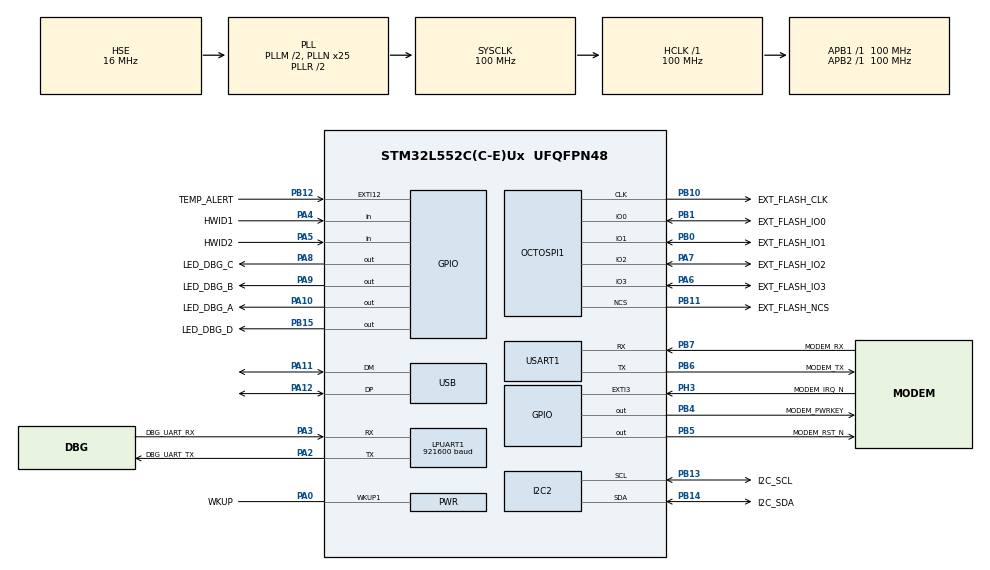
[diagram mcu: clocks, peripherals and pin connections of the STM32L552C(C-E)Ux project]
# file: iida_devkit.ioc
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I2C2.Timing=0x10C0ECFF
IWDG.Prescaler=IWDG_PRESCALER_32
IWDG.Reload=1000
IWDG.Window=1000
LPUART1.BaudRate=921600
Mcu.Family=STM32L5
Mcu.Name=STM32L552C(C-E)Ux
Mcu.Package=UFQFPN48
NVIC.EXTI12_IRQn=true\:0\:0\:false\:false\:true\:true\:true\:true
NVIC.EXTI3_IRQn=true\:0\:0\:false\:false\:true\:true\:true\:true
NVIC.HASH_IRQn=true\:0\:0\:false\:false\:true\:true\:true\:true
NVIC.I2C2_ER_IRQn=true\:0\:0\:false\:false\:true\:true\:true\:true
NVIC.I2C2_EV_IRQn=true\:0\:0\:false\:false\:true\:true\:true\:true
NVIC.LPUART1_IRQn=true\:0\:0\:false\:false\:true\:true\:true\:true
NVIC.OCTOSPI1_IRQn=true\:0\:0\:false\:false\:true\:true\:true\:true
NVIC.PVD_PVM_IRQn=true\:0\:0\:false\:false\:true\:true\:true\:true
NVIC.PriorityGroup=NVIC_PRIORITYGROUP_3
NVIC.RNG_IRQn=true\:0\:0\:false\:false\:true\:true\:true\:true
NVIC.USART1_IRQn=true\:0\:0\:false\:false\:true\:true\:true\:true
NVIC.USB_FS_IRQn=true\:0\:0\:false\:false\:true\:true\:true\:true
PA0.GPIO_Label=WKUP
PA0.Mode=WakeUp0
PA0.Signal=PWR_WKUP1
PA10.GPIO_Label=LED_DBG_A
PA10.GPIO_PuPd=GPIO_PULLUP
PA10.Signal=GPIO_Output
PA11.GPIO_Speed=GPIO_SPEED_FREQ_VERY_HIGH
PA11.Mode=Device
PA11.Signal=USB_DM
PA12.GPIO_Speed=GPIO_SPEED_FREQ_VERY_HIGH
PA12.Mode=Device
PA12.Signal=USB_DP
PA13\ (JTMS/SWDIO).GPIO_Label=SWDIO
PA13\ (JTMS/SWDIO).Mode=Trace_Asynchronous_SW
PA13\ (JTMS/SWDIO).Signal=DEBUG_JTMS-SWDIO
PA14\ (JTCK/SWCLK).GPIO_Label=SWCLK
PA14\ (JTCK/SWCLK).Mode=Trace_Asynchronous_SW
PA14\ (JTCK/SWCLK).Signal=DEBUG_JTCK-SWCLK
PA2.GPIO_Label=DBG_UART_TX
PA2.GPIO_Speed=GPIO_SPEED_FREQ_HIGH
PA2.Mode=Asynchronous
PA2.Signal=LPUART1_TX
PA3.GPIO_Label=DBG_UART_RX
PA3.GPIO_Speed=GPIO_SPEED_FREQ_HIGH
PA3.Mode=Asynchronous
PA3.Signal=LPUART1_RX
PA4.GPIO_Label=HWID1
PA4.Signal=GPIO_Input
PA5.GPIO_Label=HWID2
PA5.Signal=GPIO_Input
PA6.GPIO_Label=EXT_FLASH_IO3
PA6.Mode=quad_mode
PA6.Signal=OCTOSPI1_IO3
PA7.GPIO_Label=EXT_FLASH_IO2
PA7.Mode=quad_mode
PA7.Signal=OCTOSPI1_IO2
PA8.GPIO_Label=LED_DBG_C
PA8.GPIO_PuPd=GPIO_PULLUP
PA8.Signal=GPIO_Output
PA9.GPIO_Label=LED_DBG_B
PA9.GPIO_PuPd=GPIO_PULLUP
PA9.Signal=GPIO_Output
PB0.GPIO_Label=EXT_FLASH_IO1
PB0.Mode=quad_mode
PB0.Signal=OCTOSPI1_IO1
PB1.GPIO_Label=EXT_FLASH_IO0
PB1.Mode=quad_mode
PB1.Signal=OCTOSPI1_IO0
PB10.GPIO_Label=EXT_FLASH_CLK
PB10.Mode=quad_mode
PB10.Signal=OCTOSPI1_CLK
PB11.GPIO_Label=EXT_FLASH_NCS
PB11.Mode=quad_mode
PB11.Signal=OCTOSPI1_NCS
PB12.GPIO_Label=TEMP_ALERT
PB12.GPIO_ModeDefaultEXTI=GPIO_MODE_IT_FALLING
PB12.GPIO_PuPd=GPIO_PULLUP
PB12.Signal=GPXTI12
PB13.GPIO_Label=I2C_SCL
PB13.GPIO_Speed=GPIO_SPEED_FREQ_HIGH
PB13.Mode=I2C
PB13.Signal=I2C2_SCL
PB14.GPIO_Label=I2C_SDA
PB14.GPIO_Speed=GPIO_SPEED_FREQ_HIGH
PB14.Mode=I2C
PB14.Signal=I2C2_SDA
PB15.GPIO_Label=LED_DBG_D
PB15.GPIO_PuPd=GPIO_PULLUP
PB15.Signal=GPIO_Output
PB3\ (JTDO/TRACESWO).GPIO_Label=SWO
PB3\ (JTDO/TRACESWO).Mode=Trace_Asynchronous_SW
PB3\ (JTDO/TRACESWO).Signal=DEBUG_JTDO-SWO
PB4\ (NJTRST).GPIO_Label=MODEM_PWRKEY
PB4\ (NJTRST).GPIO_PuPd=GPIO_PULLDOWN
PB4\ (NJTRST).Signal=GPIO_Output
PB5.GPIO_Label=MODEM_RST_N
PB5.GPIO_PuPd=GPIO_PULLUP
PB5.Signal=GPIO_Output
PB6.GPIO_Label=MODEM_TX
PB6.GPIO_Speed=GPIO_SPEED_FREQ_HIGH
PB6.Mode=Asynchronous
PB6.Signal=USART1_TX
PB7.GPIO_Label=MODEM_RX
PB7.GPIO_Speed=GPIO_SPEED_FREQ_HIGH
PB7.Mode=Asynchronous
PB7.Signal=USART1_RX
PC14-OSC32_IN\ (PC14).GPIO_Label=LSE_IN
PC14-OSC32_IN\ (PC14).Mode=LSE-External-Oscillator
PC14-OSC32_IN\ (PC14).Signal=RCC_OSC32_IN
PC15-OSC32_OUT\ (PC15).GPIO_Label=LSE_OUT
PC15-OSC32_OUT\ (PC15).Mode=LSE-External-Oscillator
PC15-OSC32_OUT\ (PC15).Signal=RCC_OSC32_OUT
PH0-OSC_IN\ (PH0).GPIO_Label=HSE_IN
PH0-OSC_IN\ (PH0).Mode=HSE-External-Oscillator
PH0-OSC_IN\ (PH0).Signal=RCC_OSC_IN
PH1-OSC_OUT\ (PH1).GPIO_Label=HSE_OUT
PH1-OSC_OUT\ (PH1).Mode=HSE-External-Oscillator
PH1-OSC_OUT\ (PH1).Signal=RCC_OSC_OUT
PH3-BOOT0.GPIO_Label=MODEM_IRQ_N
PH3-BOOT0.GPIO_ModeDefaultEXTI=GPIO_MODE_IT_FALLING
PH3-BOOT0.GPIO_PuPd=GPIO_PULLUP
PH3-BOOT0.Signal=GPXTI3
ProjectManager.HeapSize=0x200
ProjectManager.StackSize=0x400
ProjectManager.TargetToolchain=Makefile
RCC.ADCFreq_Value=48000000
RCC.AHBFreq_Value=100000000
RCC.APB1Freq_Value=100000000
RCC.APB1TimFreq_Value=100000000
RCC.APB2Freq_Value=100000000
RCC.APB2TimFreq_Value=100000000
RCC.CortexFreq_Value=100000000
RCC.FLatency=FLASH_LATENCY_4
RCC.HCLKFreq_Value=100000000
RCC.HSE_VALUE=16000000
RCC.HSI48_VALUE=48000000
RCC.HSI_VALUE=16000000
RCC.LSE_Drive_Capability=RCC_LSEDRIVE_HIGH
RCC.MSIClockRange=RCC_MSIRANGE_8
RCC.MSI_VALUE=16000000
RCC.OCTOSPIMCLockSelection=RCC_OSPICLKSOURCE_PLL
RCC.PLLM=2
RCC.PLLN=25
RCC.PLLSAI1M=4
RCC.PLLSAI1N=24
RCC.PLLSAI1Source=RCC_PLLSAI1SOURCE_HSE
RCC.PLLSAI2Source=RCC_PLLSAI2SOURCE_HSE
RCC.PLLSourceVirtual=RCC_PLLSOURCE_HSE
RCC.RTCClockSelection=RCC_RTCCLKSOURCE_LSE
RCC.SYSCLKFreq_VALUE=100000000
RCC.SYSCLKSource=RCC_SYSCLKSOURCE_PLLCLK
RCC.USBFreq_Value=48000000
RCC.VCOOutputFreq_Value=200000000
USART1.VirtualMode-Asynchronous=VM_ASYNC
USB.battery_charging_enable=ENABLE
VP_CRC_VS_CRC.Mode=CRC_Activate
VP_HASH_VS_HASH.Mode=HASH_Activate
VP_ICACHE_VS_ICACHE.Mode=DirectMappedCache
VP_IWDG_VS_IWDG.Mode=IWDG_Activate
VP_PWR_VS_DBSignals.Mode=DisableDeadBatterySignals
VP_PWR_VS_SECSignals.Mode=Security/Privilege
VP_RNG_VS_RNG.Mode=RNG_Activate
VP_RTC_VS_RTC_Activate.Mode=RTC_Enabled
board=custom

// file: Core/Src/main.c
/* USER CODE BEGIN Header */
/**
  ******************************************************************************
  * @file           : main.c
  * @brief          : Main program body
  ******************************************************************************
  * @attention
  *
  * Copyright (c) 2024 STMicroelectronics.
  * All rights reserved.
  *
  * This software is licensed under terms that can be found in the LICENSE file
  * in the root directory of this software component.
  * If no LICENSE file comes with this software, it is provided AS-IS.
  *
  ******************************************************************************
  */
/* USER CODE END Header */
#include "main.h"
#include "crc.h"
#include "hash.h"
#include "i2c.h"
#include "icache.h"
#include "iwdg.h"
#include "usart.h"
#include "octospi.h"
#include "rng.h"
#include "rtc.h"
#include "usb.h"
#include "gpio.h"

/* USER CODE BEGIN Includes */
#include <stdint.h>
#include <stdbool.h>
#include <string.h>
#include <stdio.h>
/* USER CODE END Includes */

/* USER CODE BEGIN PM */
#define STRINGIFY(x) #x
/* USER CODE END PM */

/* USER CODE BEGIN PV */
static enum {
  TEST_INIT = 0,
  TEST_LED_A,
  TEST_LED_B,
  TEST_LED_C,
  TEST_LED_D,
  TEST_DBG_UART,
  TEST_MODEM_UART,
  TEST_QSPI,
  TEST_RTC,
  TEST_I2C,
  TEST_COUNT
} _test;
static const char* _test_names[TEST_COUNT] = {
  STRINGIFY(TEST_INIT),
  STRINGIFY(TEST_LED_A),
  STRINGIFY(TEST_LED_B),
  STRINGIFY(TEST_LED_C),
  STRINGIFY(TEST_LED_D),
  STRINGIFY(TEST_DBG_UART),
  STRINGIFY(TEST_MODEM_UART),
  STRINGIFY(TEST_QSPI),
  STRINGIFY(TEST_RTC),
  STRINGIFY(TEST_I2C)
};
#define MIN_I2C_SLAVE_ADDRESS (0x0U)
#define MAX_I2C_SLAVE_ADDRESS (0x7FU)
static bool _connected_i2c_slaves[MAX_I2C_SLAVE_ADDRESS + 1];
/* USER CODE END PV */

void SystemClock_Config(void);
void PeriphCommonClock_Config(void);

/* USER CODE BEGIN 0 */
int __io_putchar(int ch) {
  return HAL_UART_Transmit(&hlpuart1, (uint8_t*)&ch, 1, 1000UL);
}

int __io_getchar(void) {
  uint8_t ch = 0xFFU;
  if (HAL_UART_Receive(&hlpuart1, &ch, 1, 1000UL) != HAL_OK) {
    return -1;
  }
  return ch;
}
/* USER CODE END 0 */

int main(void)
{

  /* USER CODE BEGIN 1 */
  _test = TEST_INIT;
  bool test_results[TEST_COUNT];
  /* USER CODE END 1 */

  /* MCU Configuration--------------------------------------------------------*/

  /* Reset of all peripherals, Initializes the Flash interface and the Systick. */
  HAL_Init();

  /* Configure the system clock */
  SystemClock_Config();

/* Configure the peripherals common clocks */
  PeriphCommonClock_Config();

  /* Initialize all configured peripherals */
  MX_GPIO_Init();
  MX_CRC_Init();
  MX_HASH_Init();
  MX_I2C2_Init();
  MX_ICACHE_Init();
  MX_IWDG_Init();
  MX_LPUART1_UART_Init();
  MX_USART1_UART_Init();
  MX_OCTOSPI1_Init();
  MX_RNG_Init();
  MX_RTC_Init();
  MX_USB_PCD_Init();

  /* Infinite loop */
  /* USER CODE BEGIN WHILE */
  while (1)
  {
    printf("TEST: Start %s\n", _test_names[_test]);

    switch (_test) {
      case TEST_INIT:
        for (unsigned i = 0; i < TEST_COUNT; i++) {
          test_results[i] = false;
        }
        for (unsigned i = MIN_I2C_SLAVE_ADDRESS; i < (MAX_I2C_SLAVE_ADDRESS + 1); i++) {
          _connected_i2c_slaves[i] = false;
        }
        HAL_GPIO_WritePin(LED_DBG_A, GPIO_PIN_SET);
        HAL_GPIO_WritePin(LED_DBG_B, GPIO_PIN_SET);
        HAL_GPIO_WritePin(LED_DBG_C, GPIO_PIN_SET);
        HAL_GPIO_WritePin(LED_DBG_D, GPIO_PIN_SET);
        test_results[_test] = true;
        break;
      case TEST_LED_A:
        HAL_GPIO_WritePin(LED_DBG_A, GPIO_PIN_RESET);
        if (HAL_GPIO_ReadPin(LED_DBG_A) != GPIO_PIN_RESET) {
          break;
        }
        HAL_Delay(250UL);
        HAL_GPIO_WritePin(LED_DBG_A, GPIO_PIN_SET);
        if (HAL_GPIO_ReadPin(LED_DBG_A) != GPIO_PIN_SET) {
          break;
        }
        test_results[_test] = true;
        break;
      case TEST_LED_B:
        HAL_GPIO_WritePin(LED_DBG_B, GPIO_PIN_RESET);
        if (HAL_GPIO_ReadPin(LED_DBG_B) != GPIO_PIN_RESET) {
          break;
        }
        HAL_Delay(250UL);
        HAL_GPIO_WritePin(LED_DBG_B, GPIO_PIN_SET);
        if (HAL_GPIO_ReadPin(LED_DBG_B) != GPIO_PIN_SET) {
          break;
        }
        test_results[_test] = true;
        break;
      case TEST_LED_C:
        HAL_GPIO_WritePin(LED_DBG_C, GPIO_PIN_RESET);
        if (HAL_GPIO_ReadPin(LED_DBG_C) != GPIO_PIN_RESET) {
          break;
        }
        HAL_Delay(250UL);
        HAL_GPIO_WritePin(LED_DBG_C, GPIO_PIN_SET);
        if (HAL_GPIO_ReadPin(LED_DBG_C) != GPIO_PIN_SET) {
          break;
        }
        test_results[_test] = true;
        break;
      case TEST_LED_D:
        HAL_GPIO_WritePin(LED_DBG_D, GPIO_PIN_RESET);
        if (HAL_GPIO_ReadPin(LED_DBG_D) != GPIO_PIN_RESET) {
          break;
        }
        HAL_Delay(250UL);
        HAL_GPIO_WritePin(LED_DBG_D, GPIO_PIN_SET);
        if (HAL_GPIO_ReadPin(LED_DBG_D) != GPIO_PIN_SET) {
          break;
        }
        test_results[_test] = true;
        break;
      case TEST_DBG_UART:
        if (HAL_UART_Transmit(&hlpuart1, (uint8_t*)"TEST\n", strlen("TEST\n"), 500UL) != HAL_OK) {
          break;
        }
        test_results[_test] = true;
        break;
      case TEST_MODEM_UART:
        if (HAL_UART_Transmit(&huart1, (uint8_t*)"TEST\n", strlen("TEST\n"), 500UL) != HAL_OK) {
          break;
        }
        test_results[_test] = true;
        break;
      case TEST_RTC:
        // TODO
        RTC_TimeTypeDef rtc_time_start = {0};
        RTC_TimeTypeDef rtc_time_stop = {0};
        if (HAL_RTC_GetTime(&hrtc, &rtc_time_start, RTC_FORMAT_BCD) != HAL_OK) {
          break;
        }
        HAL_Delay(500UL);
        HAL_IWDG_Refresh(&hiwdg);
        HAL_Delay(500UL);
        if (HAL_RTC_GetTime(&hrtc, &rtc_time_stop, RTC_FORMAT_BCD) != HAL_OK) {
          break;
        }
        if (rtc_time_start.Seconds < rtc_time_stop.Seconds) {
          test_results[_test] = true;
        }
        break;
      case TEST_I2C:
        for (uint16_t i = MIN_I2C_SLAVE_ADDRESS; i < (MAX_I2C_SLAVE_ADDRESS + 1); i++) {
          if (HAL_I2C_IsDeviceReady(&hi2c2, i, 3, 500UL) == HAL_OK) {
            HAL_IWDG_Refresh(&hiwdg);
            printf("TEST: I2C slave @ 0x%02X\n", i);
            _connected_i2c_slaves[i] = true;
            test_results[_test] = true;
          }
        }
        break;
      default:
        printf("ERROR: Unknown test: %d\n", _test);
        break;
    }

    if (test_results[_test]) {
      printf("TEST: %s PASS\n", _test_names[_test]);
    } else {
      printf("TEST: %s FAIL\n", _test_names[_test]);
    }
    /* USER CODE END WHILE */

    /* USER CODE BEGIN 3 */
    _test++;

    HAL_IWDG_Refresh(&hiwdg);
  }
  unsigned failed = 0;
  for (unsigned i = 0; i < TEST_COUNT; i++) {
    if (!test_results[i]) {
      failed++;
    }
  }
  printf("\n");
  printf("Failed %u / %u\n", failed, TEST_COUNT);
  /* USER CODE END 3 */
}

void SystemClock_Config(void)
{
  RCC_OscInitTypeDef RCC_OscInitStruct = {0};
  RCC_ClkInitTypeDef RCC_ClkInitStruct = {0};

  /** Configure the main internal regulator output voltage
  */
  if (HAL_PWREx_ControlVoltageScaling(PWR_REGULATOR_VOLTAGE_SCALE0) != HAL_OK)
  {
    Error_Handler();
  }

  /** Configure LSE Drive Capability
  */
  HAL_PWR_EnableBkUpAccess();
  __HAL_RCC_LSEDRIVE_CONFIG(RCC_LSEDRIVE_HIGH);

  /** Initializes the RCC Oscillators according to the specified parameters
  * in the RCC_OscInitTypeDef structure.
  */
  RCC_OscInitStruct.OscillatorType = RCC_OSCILLATORTYPE_LSI|RCC_OSCILLATORTYPE_HSE
                              |RCC_OSCILLATORTYPE_LSE;
  RCC_OscInitStruct.HSEState = RCC_HSE_ON;
  RCC_OscInitStruct.LSEState = RCC_LSE_ON;
  RCC_OscInitStruct.LSIDiv = RCC_LSI_DIV1;
  RCC_OscInitStruct.LSIState = RCC_LSI_ON;
  RCC_OscInitStruct.PLL.PLLState = RCC_PLL_ON;
  RCC_OscInitStruct.PLL.PLLSource = RCC_PLLSOURCE_HSE;
  RCC_OscInitStruct.PLL.PLLM = 2;
  RCC_OscInitStruct.PLL.PLLN = 25;
  RCC_OscInitStruct.PLL.PLLP = RCC_PLLP_DIV7;
  RCC_OscInitStruct.PLL.PLLQ = RCC_PLLQ_DIV2;
  RCC_OscInitStruct.PLL.PLLR = RCC_PLLR_DIV2;
  if (HAL_RCC_OscConfig(&RCC_OscInitStruct) != HAL_OK)
  {
    Error_Handler();
  }

  /** Initializes the CPU, AHB and APB buses clocks
  */
  RCC_ClkInitStruct.ClockType = RCC_CLOCKTYPE_HCLK|RCC_CLOCKTYPE_SYSCLK
                              |RCC_CLOCKTYPE_PCLK1|RCC_CLOCKTYPE_PCLK2;
  RCC_ClkInitStruct.SYSCLKSource = RCC_SYSCLKSOURCE_PLLCLK;
  RCC_ClkInitStruct.AHBCLKDivider = RCC_SYSCLK_DIV1;
  RCC_ClkInitStruct.APB1CLKDivider = RCC_HCLK_DIV1;
  RCC_ClkInitStruct.APB2CLKDivider = RCC_HCLK_DIV1;

  if (HAL_RCC_ClockConfig(&RCC_ClkInitStruct, FLASH_LATENCY_4) != HAL_OK)
  {
    Error_Handler();
  }
}

void PeriphCommonClock_Config(void)
{
  RCC_PeriphCLKInitTypeDef PeriphClkInit = {0};

  /** Initializes the common periph clock
  */
  PeriphClkInit.PeriphClockSelection = RCC_PERIPHCLK_USB|RCC_PERIPHCLK_RNG;
  PeriphClkInit.UsbClockSelection = RCC_USBCLKSOURCE_PLLSAI1;
  PeriphClkInit.RngClockSelection = RCC_RNGCLKSOURCE_PLLSAI1;
  PeriphClkInit.PLLSAI1.PLLSAI1Source = RCC_PLLSAI1SOURCE_HSE;
  PeriphClkInit.PLLSAI1.PLLSAI1M = 4;
  PeriphClkInit.PLLSAI1.PLLSAI1N = 24;
  PeriphClkInit.PLLSAI1.PLLSAI1P = RCC_PLLP_DIV7;
  PeriphClkInit.PLLSAI1.PLLSAI1Q = RCC_PLLQ_DIV2;
  PeriphClkInit.PLLSAI1.PLLSAI1R = RCC_PLLR_DIV2;
  PeriphClkInit.PLLSAI1.PLLSAI1ClockOut = RCC_PLLSAI1_48M2CLK;
  if (HAL_RCCEx_PeriphCLKConfig(&PeriphClkInit) != HAL_OK)
  {
    Error_Handler();
  }
}

void Error_Handler(void)
{
  __disable_irq();
  while (1)
  {
  }
}
